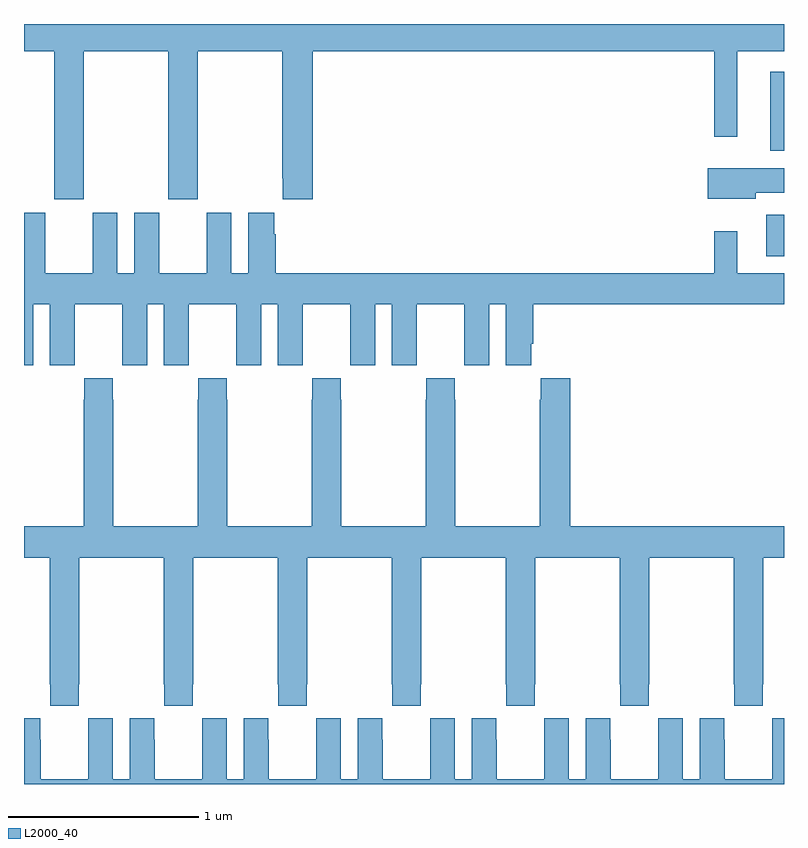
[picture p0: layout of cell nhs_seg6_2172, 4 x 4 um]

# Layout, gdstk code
import gdstk
lib = gdstk.Library(unit=1e-6, precision=1e-09)
def R(c, l, rs):  # rectangles x0, y0, x1, y1
    for r in rs: c.add(gdstk.rectangle(r[:2], r[2:], *l))
def P(c, l, *ps):  # polygons
    for p in ps: c.add(gdstk.Polygon(p, *l))
L2000_40 = (2000, 40)

nhs_seg6_2172 = lib.new_cell('nhs_seg6_2172')
R(nhs_seg6_2172, L2000_40, [(244.907,926.277,245,926.497), (244.928,926.834,245,927.25)])
P(nhs_seg6_2172, L2000_40, [(241.314,927.356),(241.759,927.356),(241.759,926.577),(241.914,926.577),(241.914,927.356),(242.359,927.356),(242.359,926.689),(242.363,926.689),(242.363,926.577),(242.519,926.577),(242.519,927.356),(244.632,927.356),(244.632,926.907),(244.753,926.907),(244.753,927.356),(245,927.356),(245,927.5),(241,927.5),(241,927.356),(241.159,927.356),(241.159,926.577),(241.314,926.577)],
  [(244.852,926.611),(245,926.611),(245,926.74),(244.598,926.74),(244.598,926.579),(244.852,926.579)],
  [(241.048,926.024),(241.136,926.024),(241.136,925.704),(241.266,925.704),(241.266,925.816),(241.267,925.816),(241.267,926.024),(241.517,926.024),(241.517,925.816),(241.518,925.816),(241.518,925.704),(241.648,925.704),(241.648,926.024),(241.736,926.024),(241.736,925.704),(241.866,925.704),(241.866,925.816),(241.867,925.816),(241.867,926.024),(242.117,926.024),(242.117,925.816),(242.118,925.816),(242.118,925.704),(242.248,925.704),(242.248,926.024),(242.336,926.024),(242.336,925.704),(242.466,925.704),(242.466,925.816),(242.467,925.816),(242.467,926.024),(242.717,926.024),(242.717,925.816),(242.718,925.816),(242.718,925.704),(242.848,925.704),(242.848,926.024),(242.936,926.024),(242.936,925.704),(243.066,925.704),(243.066,925.816),(243.067,925.816),(243.067,926.024),(243.317,926.024),(243.317,925.816),(243.318,925.816),(243.318,925.704),(243.448,925.704),(243.448,926.024),(243.536,926.024),(243.536,925.704),(243.67,925.704),(243.67,925.816),(243.68,925.816),(243.68,926.024),(245,926.024),(245,926.188),(244.753,926.188),(244.753,926.41),(244.632,926.41),(244.632,926.188),(242.324,926.188),(242.324,926.393),(242.317,926.393),(242.317,926.506),(242.18,926.506),(242.18,926.188),(242.092,926.188),(242.092,926.506),(241.961,926.506),(241.961,926.188),(241.711,926.188),(241.711,926.506),(241.58,926.506),(241.58,926.188),(241.492,926.188),(241.492,926.506),(241.361,926.506),(241.361,926.188),(241.111,926.188),(241.111,926.506),(241,926.506),(241,925.704),(241.048,925.704)],
  [(241.735,924.025),(241.737,924.025),(241.737,923.913),(241.887,923.913),(241.887,924.025),(241.89,924.025),(241.89,924.692),(242.335,924.692),(242.335,924.025),(242.337,924.025),(242.337,923.913),(242.487,923.913),(242.487,924.025),(242.49,924.025),(242.49,924.692),(242.935,924.692),(242.935,924.025),(242.937,924.025),(242.937,923.913),(243.087,923.913),(243.087,924.025),(243.09,924.025),(243.09,924.692),(243.535,924.692),(243.535,924.025),(243.537,924.025),(243.537,923.913),(243.687,923.913),(243.687,924.025),(243.69,924.025),(243.69,924.692),(244.135,924.692),(244.135,924.025),(244.137,924.025),(244.137,923.913),(244.287,923.913),(244.287,924.025),(244.29,924.025),(244.29,924.692),(244.735,924.692),(244.735,924.025),(244.737,924.025),(244.737,923.913),(244.887,923.913),(244.887,924.025),(244.89,924.025),(244.89,924.692),(245,924.692),(245,924.856),(243.875,924.856),(243.875,925.636),(243.721,925.636),(243.721,925.523),(243.715,925.523),(243.715,924.856),(243.27,924.856),(243.27,925.523),(243.267,925.523),(243.267,925.636),(243.117,925.636),(243.117,925.523),(243.115,925.523),(243.115,924.856),(242.67,924.856),(242.67,925.523),(242.667,925.523),(242.667,925.636),(242.517,925.636),(242.517,925.523),(242.515,925.523),(242.515,924.856),(242.07,924.856),(242.07,925.523),(242.067,925.523),(242.067,925.636),(241.917,925.636),(241.917,925.523),(241.915,925.523),(241.915,924.856),(241.47,924.856),(241.47,925.523),(241.467,925.523),(241.467,925.636),(241.317,925.636),(241.317,925.523),(241.315,925.523),(241.315,924.856),(241,924.856),(241,924.692),(241.135,924.692),(241.135,924.025),(241.137,924.025),(241.137,923.913),(241.287,923.913),(241.287,924.025),(241.29,924.025),(241.29,924.692),(241.735,924.692)],
  [(245,923.845),(244.938,923.845),(244.938,923.732),(244.937,923.732),(244.937,923.524),(244.687,923.524),(244.687,923.732),(244.686,923.732),(244.686,923.845),(244.556,923.845),(244.556,923.524),(244.468,923.524),(244.468,923.845),(244.338,923.845),(244.338,923.732),(244.337,923.732),(244.337,923.524),(244.087,923.524),(244.087,923.732),(244.086,923.732),(244.086,923.845),(243.956,923.845),(243.956,923.524),(243.868,923.524),(243.868,923.845),(243.738,923.845),(243.738,923.732),(243.737,923.732),(243.737,923.524),(243.487,923.524),(243.487,923.732),(243.486,923.732),(243.486,923.845),(243.356,923.845),(243.356,923.524),(243.268,923.524),(243.268,923.845),(243.138,923.845),(243.138,923.732),(243.137,923.732),(243.137,923.524),(242.887,923.524),(242.887,923.732),(242.886,923.732),(242.886,923.845),(242.756,923.845),(242.756,923.524),(242.668,923.524),(242.668,923.845),(242.538,923.845),(242.538,923.732),(242.537,923.732),(242.537,923.524),(242.287,923.524),(242.287,923.732),(242.286,923.732),(242.286,923.845),(242.156,923.845),(242.156,923.524),(242.068,923.524),(242.068,923.845),(241.938,923.845),(241.938,923.732),(241.937,923.732),(241.937,923.524),(241.687,923.524),(241.687,923.732),(241.686,923.732),(241.686,923.845),(241.556,923.845),(241.556,923.524),(241.468,923.524),(241.468,923.845),(241.338,923.845),(241.338,923.732),(241.337,923.732),(241.337,923.524),(241.087,923.524),(241.087,923.732),(241.086,923.732),(241.086,923.845),(241,923.845),(241,923.5),(245,923.5)])

lib.write_gds('nhs_seg6_2172.gds')
